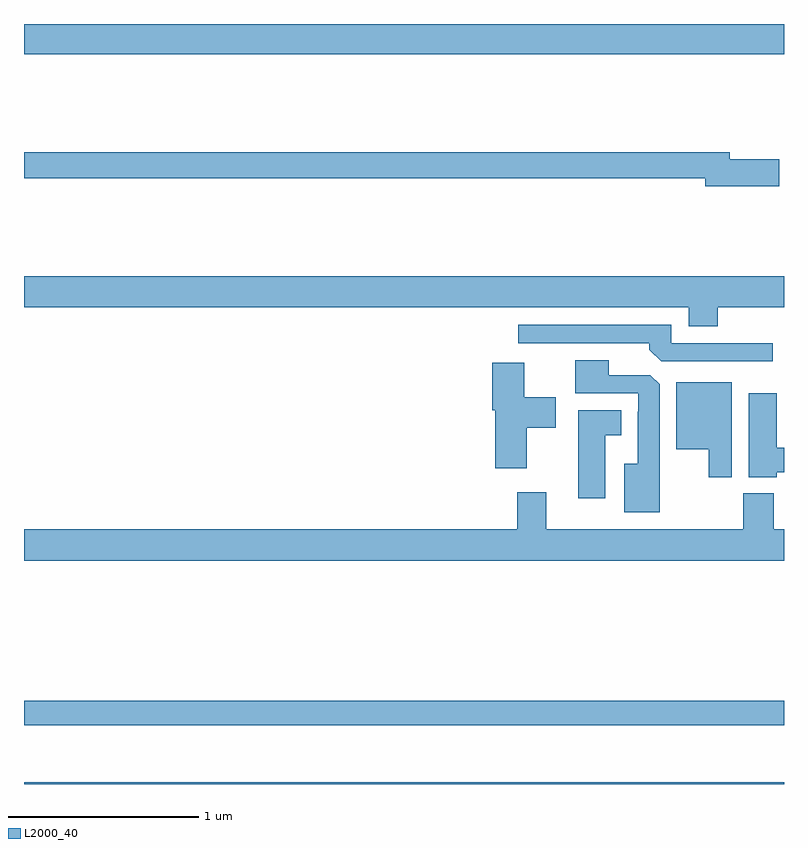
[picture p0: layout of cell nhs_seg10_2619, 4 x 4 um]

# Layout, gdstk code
import gdstk
lib = gdstk.Library(unit=1e-6, precision=1e-09)
def R(c, l, rs):  # rectangles x0, y0, x1, y1
    for r in rs: c.add(gdstk.rectangle(r[:2], r[2:], *l))
def P(c, l, *ps):  # polygons
    for p in ps: c.add(gdstk.Polygon(p, *l))
L2000_40 = (2000, 40)

nhs_seg10_2619 = lib.new_cell('nhs_seg10_2619')
R(nhs_seg10_2619, L2000_40, [(253,1272.5,257,1272.508), (253,1272.81,257,1272.938), (253,1276.34,257,1276.5)])
P(nhs_seg10_2619, L2000_40, [(256.975,1275.788),(256.714,1275.788),(256.714,1275.824),(253,1275.824),(253,1275.688),(256.586,1275.688),(256.586,1275.646),(256.975,1275.646)],
  [(256.652,1275.008),(257,1275.008),(257,1275.172),(253,1275.172),(253,1275.008),(256.499,1275.008),(256.499,1274.909),(256.652,1274.909)],
  [(256.942,1274.82),(256.407,1274.82),(256.407,1274.916),(255.6,1274.916),(255.6,1274.82),(256.291,1274.82),(256.291,1274.786),(256.353,1274.724),(256.942,1274.724)],
  [(256.345,1274.603),(256.296,1274.652),(256.078,1274.652),(256.078,1274.731),(255.902,1274.731),(255.902,1274.556),(256.233,1274.556),(256.233,1274.459),(256.229,1274.459),(256.229,1274.185),(256.16,1274.185),(256.16,1273.931),(256.345,1273.931)],
  [(255.646,1274.374),(255.799,1274.374),(255.799,1274.536),(255.634,1274.536),(255.634,1274.716),(255.464,1274.716),(255.464,1274.467),(255.479,1274.467),(255.479,1274.163),(255.646,1274.163)],
  [(256.726,1274.614),(256.433,1274.614),(256.433,1274.261),(256.604,1274.261),(256.604,1274.115),(256.726,1274.115)],
  [(256.961,1274.142),(257,1274.142),(257,1274.27),(256.961,1274.27),(256.961,1274.557),(256.814,1274.557),(256.814,1274.114),(256.961,1274.114)],
  [(256.06,1274.336),(256.144,1274.336),(256.144,1274.467),(255.917,1274.467),(255.917,1274.004),(256.06,1274.004)],
  [(257,1273.84),(256.946,1273.84),(256.946,1274.029),(256.786,1274.029),(256.786,1273.84),(255.748,1273.84),(255.748,1274.035),(255.596,1274.035),(255.596,1273.84),(253,1273.84),(253,1273.676),(257,1273.676)])

lib.write_gds('nhs_seg10_2619.gds')
